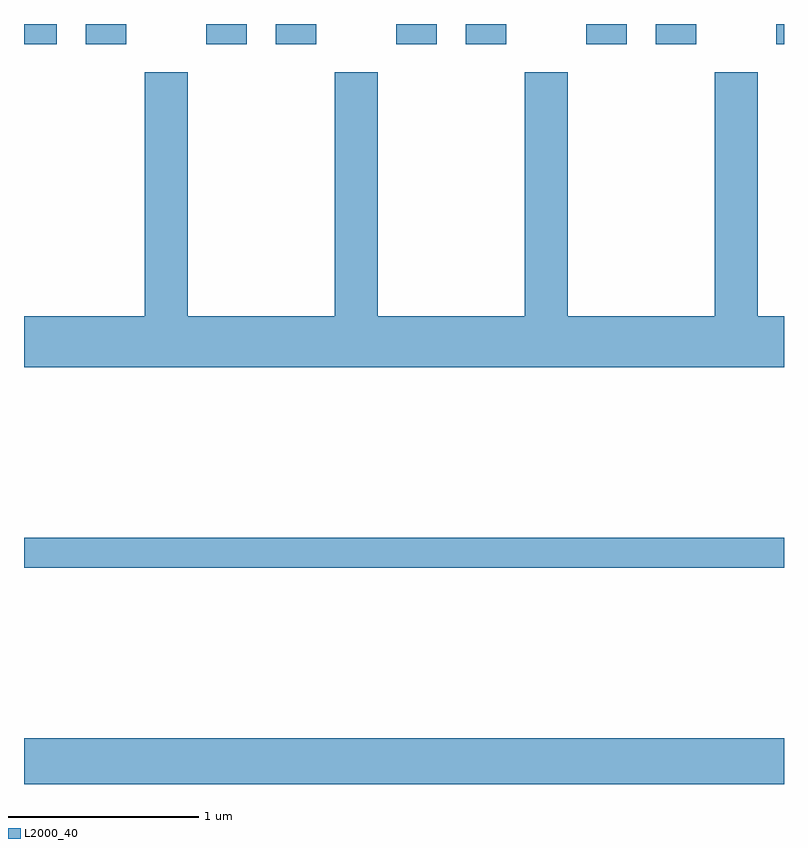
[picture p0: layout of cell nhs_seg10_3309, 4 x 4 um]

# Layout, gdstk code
import gdstk
lib = gdstk.Library(unit=1e-6, precision=1e-09)
def R(c, l, rs):  # rectangles x0, y0, x1, y1
    for r in rs: c.add(gdstk.rectangle(r[:2], r[2:], *l))
def P(c, l, *ps):  # polygons
    for p in ps: c.add(gdstk.Polygon(p, *l))
L2000_40 = (2000, 40)

nhs_seg10_3309 = lib.new_cell('nhs_seg10_3309')
R(nhs_seg10_3309, L2000_40, [(281.611,2200.522,285.611,2200.764), (281.611,2201.661,285.611,2201.819), (281.611,2204.416,281.784,2204.522), (281.936,2204.416,282.149,2204.522), (282.571,2204.416,282.784,2204.522), (282.936,2204.416,283.149,2204.522), (283.571,2204.416,283.784,2204.522), (283.936,2204.416,284.149,2204.522), (284.571,2204.416,284.784,2204.522), (284.936,2204.416,285.149,2204.522), (285.571,2204.416,285.611,2204.522)])
P(nhs_seg10_3309, L2000_40, [(285.611,2202.984),(285.474,2202.984),(285.474,2204.269),(285.246,2204.269),(285.246,2202.984),(284.474,2202.984),(284.474,2204.269),(284.246,2204.269),(284.246,2202.984),(283.474,2202.984),(283.474,2204.269),(283.246,2204.269),(283.246,2202.984),(282.474,2202.984),(282.474,2204.269),(282.246,2204.269),(282.246,2202.984),(281.611,2202.984),(281.611,2202.716),(285.611,2202.716)])

lib.write_gds('nhs_seg10_3309.gds')
